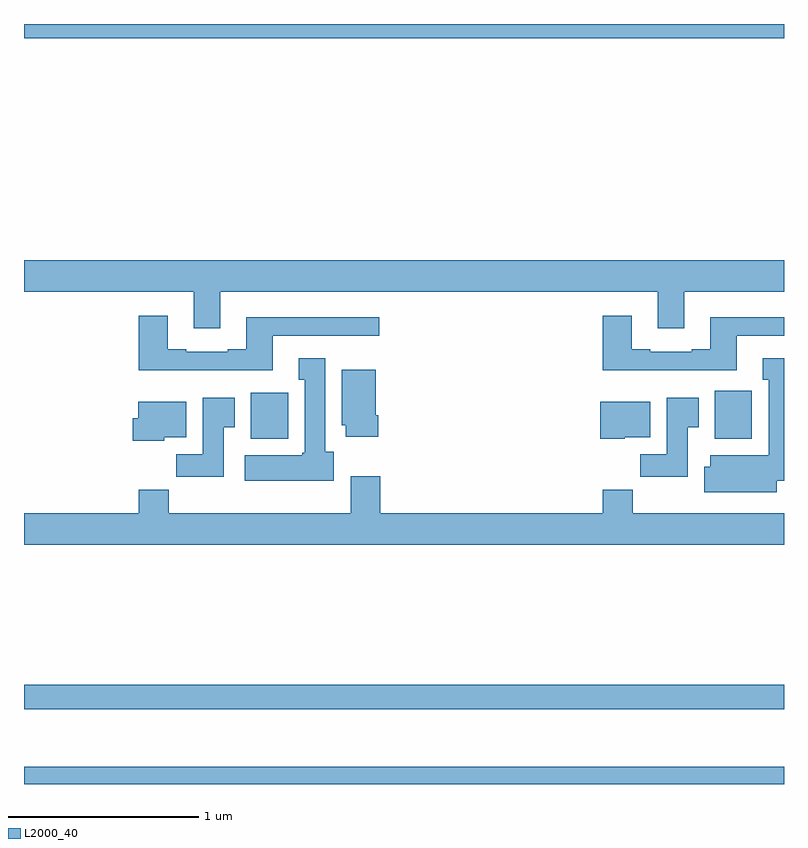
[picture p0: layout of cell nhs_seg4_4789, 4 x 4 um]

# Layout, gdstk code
import gdstk
lib = gdstk.Library(unit=1e-6, precision=1e-09)
def R(c, l, rs):  # rectangles x0, y0, x1, y1
    for r in rs: c.add(gdstk.rectangle(r[:2], r[2:], *l))
def P(c, l, *ps):  # polygons
    for p in ps: c.add(gdstk.Polygon(p, *l))
L2000_40 = (2000, 40)

nhs_seg4_4789 = lib.new_cell('nhs_seg4_4789')
R(nhs_seg4_4789, L2000_40, [(369,788.9,373,788.992), (369,789.294,373,789.422), (370.193,790.718,370.39,790.96), (372.635,790.718,372.831,790.969), (369,792.824,373,792.9)])
P(nhs_seg4_4789, L2000_40, [(369,791.492),(369.893,791.492),(369.893,791.298),(370.033,791.298),(370.033,791.492),(372.335,791.492),(372.335,791.298),(372.475,791.298),(372.475,791.492),(373,791.492),(373,791.656),(369,791.656)],
  [(372.751,791.259),(373,791.259),(373,791.356),(372.611,791.356),(372.611,791.188),(372.515,791.188),(372.515,791.175),(372.295,791.175),(372.295,791.188),(372.199,791.188),(372.199,791.365),(372.047,791.365),(372.047,791.078),(372.751,791.078)],
  [(370.309,791.259),(370.87,791.259),(370.87,791.356),(370.169,791.356),(370.169,791.188),(370.073,791.188),(370.073,791.175),(369.853,791.175),(369.853,791.188),(369.757,791.188),(369.757,791.365),(369.605,791.365),(369.605,791.078),(370.309,791.078)],
  [(370.63,790.65),(370.585,790.65),(370.585,791.14),(370.445,791.14),(370.445,791.027),(370.478,791.027),(370.478,790.644),(370.465,790.644),(370.465,790.63),(370.161,790.63),(370.161,790.496),(370.63,790.496)],
  [(372.961,790.496),(373,790.496),(373,791.14),(372.887,791.14),(372.887,791.027),(372.92,791.027),(372.92,790.63),(372.611,790.63),(372.611,790.571),(372.581,790.571),(372.581,790.436),(372.961,790.436)],
  [(370.865,790.84),(370.852,790.84),(370.852,791.08),(370.673,791.08),(370.673,790.788),(370.694,790.788),(370.694,790.728),(370.865,790.728)],
  [(372.493,790.777),(372.55,790.777),(372.55,790.933),(372.383,790.933),(372.383,790.636),(372.244,790.636),(372.244,790.518),(372.493,790.518)],
  [(370.051,790.777),(370.108,790.777),(370.108,790.933),(369.941,790.933),(369.941,790.636),(369.802,790.636),(369.802,790.518),(370.051,790.518)],
  [(372.162,790.724),(372.295,790.724),(372.295,790.912),(372.032,790.912),(372.032,790.718),(372.162,790.718)],
  [(369.738,790.724),(369.853,790.724),(369.853,790.912),(369.602,790.912),(369.602,790.824),(369.572,790.824),(369.572,790.706),(369.738,790.706)],
  [(373,790.324),(372.203,790.324),(372.203,790.448),(372.047,790.448),(372.047,790.324),(370.874,790.324),(370.874,790.519),(370.721,790.519),(370.721,790.324),(369.761,790.324),(369.761,790.448),(369.605,790.448),(369.605,790.324),(369,790.324),(369,790.16),(373,790.16)])

lib.write_gds('nhs_seg4_4789.gds')
